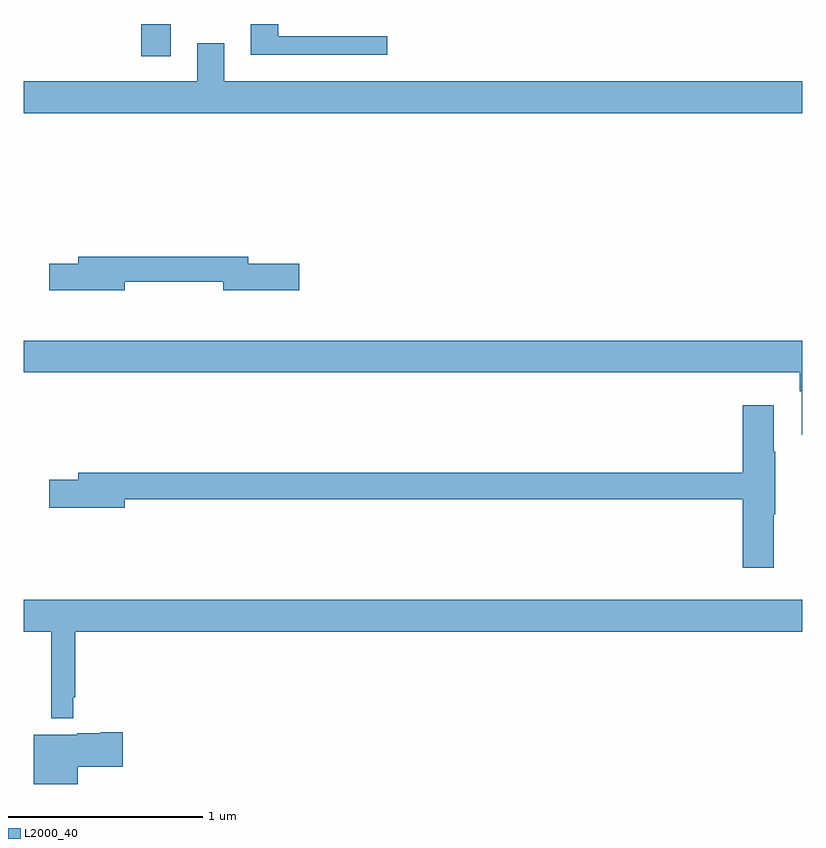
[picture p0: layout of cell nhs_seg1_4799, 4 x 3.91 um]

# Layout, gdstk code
import gdstk
lib = gdstk.Library(unit=1e-6, precision=1e-09)
def R(c, l, rs):  # rectangles x0, y0, x1, y1
    for r in rs: c.add(gdstk.rectangle(r[:2], r[2:], *l))
def P(c, l, *ps):  # polygons
    for p in ps: c.add(gdstk.Polygon(p, *l))
L2000_40 = (2000, 40)

nhs_seg1_4799 = lib.new_cell('nhs_seg1_4799')
R(nhs_seg1_4799, L2000_40, [(371.603,544.032,371.755,544.199)])
P(nhs_seg1_4799, L2000_40, [(372.868,544.137),(372.307,544.137),(372.307,544.199),(372.167,544.199),(372.167,544.04),(372.868,544.04)],
  [(375,543.904),(372.031,543.904),(372.031,544.099),(371.891,544.099),(371.891,543.904),(371,543.904),(371,543.74),(375,543.74)],
  [(371.518,542.874),(372.026,542.874),(372.026,542.831),(372.415,542.831),(372.415,542.966),(372.154,542.966),(372.154,543.002),(371.279,543.002),(371.279,542.966),(371.13,542.966),(371.13,542.831),(371.518,542.831)],
  [(375,542.572),(371,542.572),(371,542.408),(374.987,542.408),(374.987,542.312),(374.999,542.312),(374.999,542.088),(375,542.088)],
  [(374.854,541.679),(374.862,541.679),(374.862,542),(374.854,542),(374.854,542.239),(374.696,542.239),(374.696,541.892),(371.279,541.892),(371.279,541.856),(371.13,541.856),(371.13,541.714),(371.518,541.714),(371.518,541.756),(374.696,541.756),(374.696,541.404),(374.854,541.404)],
  [(371.255,540.739),(371.263,540.739),(371.263,541.076),(375,541.076),(375,541.24),(371,541.24),(371,541.076),(371.141,541.076),(371.141,540.632),(371.255,540.632)],
  [(371.278,540.382),(371.509,540.382),(371.509,540.56),(371.396,540.56),(371.396,540.553),(371.274,540.553),(371.274,540.547),(371.051,540.547),(371.051,540.293),(371.278,540.293)])

lib.write_gds('nhs_seg1_4799.gds')
